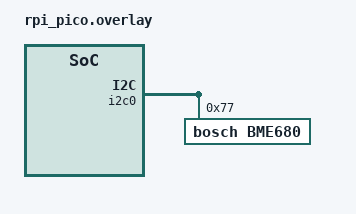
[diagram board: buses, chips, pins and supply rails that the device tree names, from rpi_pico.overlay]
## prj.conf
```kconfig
CONFIG_GPIO=y
CONFIG_I2C=y

CONFIG_NEWLIB_LIBC=y
CONFIG_NEWLIB_LIBC_FLOAT_PRINTF=y

CONFIG_SENSOR=y
CONFIG_BME680=y

CONFIG_DEBUG=y
```

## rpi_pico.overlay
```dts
    &i2c0 {
        status = "okay";
        bme680@77 {
            compatible = "bosch,bme680";
            reg = <0x77>;
            label = "BME680";
        };
    };
```

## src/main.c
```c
#include <zephyr/kernel.h>
#include <stdio.h>
#include <zephyr/device.h>
#include <zephyr/devicetree.h>
#include <zephyr/drivers/gpio.h>
#include <zephyr/drivers/sensor.h>


#define SLEEP_TIME_MS 3000

int main(void) {
    const struct device *dev = DEVICE_DT_GET_ANY(bosch_bme680);

    if (!device_is_ready(dev)) {
        printf("BME680 device is not ready\n");
        return;
    }

    while (1) {
        struct sensor_value temp;

        if (sensor_sample_fetch(dev) < 0) {
            printf("Failed to fetch BME680 sample\n");
            continue;
        }

        if (sensor_channel_get(dev, SENSOR_CHAN_AMBIENT_TEMP, &temp) < 0) {
            printf("Failed to get temperature data\n");
            continue;
        }

        printf("Temperature: %d.%d°C\n", temp.val1, temp.val2);

        k_msleep(SLEEP_TIME_MS);
    }
}
```
